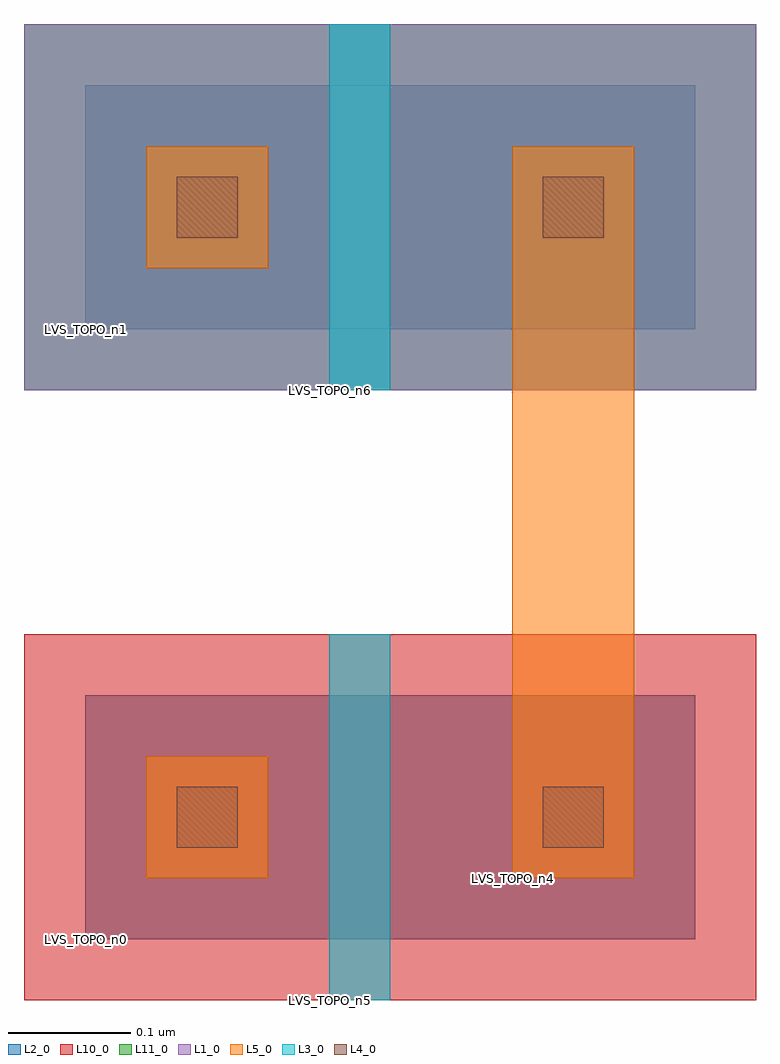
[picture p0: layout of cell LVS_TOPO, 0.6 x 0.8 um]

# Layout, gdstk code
import gdstk
lib = gdstk.Library(unit=1e-6, precision=1e-09)
def R(c, l, rs):  # rectangles x0, y0, x1, y1
    for r in rs: c.add(gdstk.rectangle(r[:2], r[2:], *l))
L1_0 = (1, 0)
L2_0 = (2, 0)
L3_0 = (3, 0)
L4_0 = (4, 0)
L5_0 = (5, 0)
L10_0 = (10, 0)
L11_0 = (11, 0)

lvs_topo = lib.new_cell('LVS_TOPO')
R(lvs_topo, L1_0, [(-0.05,0.45,0.55,0.75)])
R(lvs_topo, L2_0, [(0,0,0.5,0.2), (0,0.5,0.5,0.7)])
R(lvs_topo, L3_0, [(0.2,-0.05,0.25,0.25), (0.2,0.45,0.25,0.75)])
R(lvs_topo, L4_0, [(0.075,0.075,0.125,0.125), (0.375,0.075,0.425,0.125), (0.075,0.575,0.125,0.625), (0.375,0.575,0.425,0.625)])
R(lvs_topo, L5_0, [(0.05,0.05,0.15,0.15), (0.35,0.05,0.45,0.65), (0.05,0.55,0.15,0.65)])
R(lvs_topo, L10_0, [(-0.05,-0.05,0.55,0.25)])
R(lvs_topo, L11_0, [(-0.05,0.45,0.55,0.75)])
lvs_topo.add(gdstk.Label('LVS_TOPO_n0', (0,0), layer=2, texttype=5))
lvs_topo.add(gdstk.Label('LVS_TOPO_n1', (0,0.5), layer=2, texttype=5))
lvs_topo.add(gdstk.Label('LVS_TOPO_n4', (0.35,0.05), layer=5, texttype=5))
lvs_topo.add(gdstk.Label('LVS_TOPO_n5', (0.2,-0.05), layer=3, texttype=5))
lvs_topo.add(gdstk.Label('LVS_TOPO_n6', (0.2,0.45), layer=3, texttype=5))

lib.write_gds('LVS_TOPO.gds')
